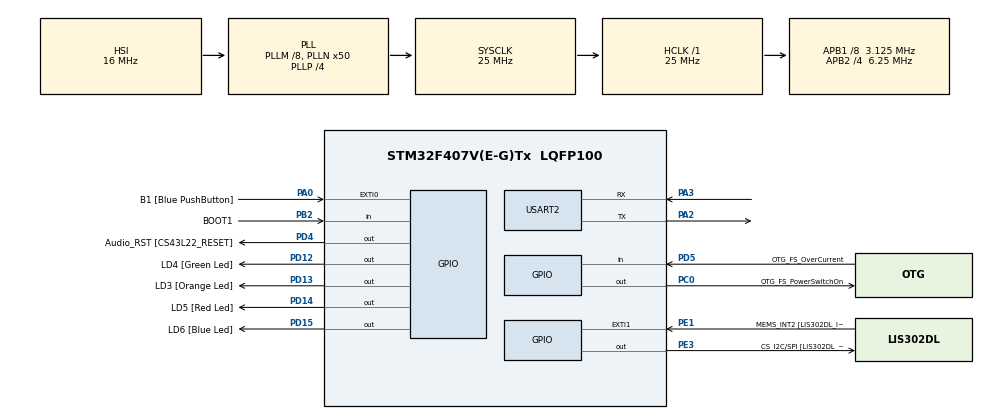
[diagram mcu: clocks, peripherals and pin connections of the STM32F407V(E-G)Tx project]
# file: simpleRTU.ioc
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FREERTOS.Tasks01=defaultTask,0,128,StartDefaultTask,Default
Mcu.Family=STM32F4
Mcu.Name=STM32F407V(E-G)Tx
Mcu.Package=LQFP100
NVIC.PriorityGroup=NVIC_PRIORITYGROUP_4
NVIC.TIM1_UP_TIM10_IRQn=true\:0\:0\:false\:false\:true\:false
NVIC.TimeBase=TIM1_UP_TIM10_IRQn
NVIC.TimeBaseIP=TIM1
NVIC.USART2_IRQn=true\:5\:0\:false\:false\:true\:true
PA0-WKUP.GPIO_Label=B1 [Blue PushButton]
PA0-WKUP.GPIO_ModeDefaultEXTI=GPIO_MODE_EVT_RISING
PA0-WKUP.GPIO_PuPd=GPIO_NOPULL
PA0-WKUP.Signal=GPXTI0
PA10.GPIO_Label=OTG_FS_ID
PA10.GPIO_Mode=GPIO_MODE_AF_PP
PA10.GPIO_PuPd=GPIO_NOPULL
PA10.GPIO_Speed=GPIO_SPEED_FREQ_LOW
PA10.Signal=USB_OTG_FS_ID
PA11.GPIO_Label=OTG_FS_DM
PA11.GPIO_Mode=GPIO_MODE_AF_PP
PA11.GPIO_PuPd=GPIO_NOPULL
PA11.GPIO_Speed=GPIO_SPEED_FREQ_LOW
PA11.Signal=USB_OTG_FS_DM
PA12.GPIO_Label=OTG_FS_DP
PA12.GPIO_Mode=GPIO_MODE_AF_PP
PA12.GPIO_PuPd=GPIO_NOPULL
PA12.GPIO_Speed=GPIO_SPEED_FREQ_LOW
PA12.Signal=USB_OTG_FS_DP
PA13.GPIO_Label=SWDIO
PA13.Signal=SYS_JTMS-SWDIO
PA14.GPIO_Label=SWCLK
PA14.Signal=SYS_JTCK-SWCLK
PA2.Mode=Asynchronous
PA2.Signal=USART2_TX
PA3.Mode=Asynchronous
PA3.Signal=USART2_RX
PA4.GPIO_Label=I2S3_WS [CS43L22_LRCK]
PA4.GPIO_Mode=GPIO_MODE_AF_PP
PA4.GPIO_PuPd=GPIO_NOPULL
PA4.GPIO_Speed=GPIO_SPEED_FREQ_LOW
PA4.Signal=I2S3_WS
PA5.GPIO_Label=SPI1_SCK [LIS302DL_SCL/SPC]
PA5.GPIO_Mode=GPIO_MODE_AF_PP
PA5.GPIO_PuPd=GPIO_NOPULL
PA5.GPIO_Speed=GPIO_SPEED_FREQ_LOW
PA5.Signal=SPI1_SCK
PA6.GPIO_Label=SPI1_MISO [LIS302DL_SDO]
PA6.GPIO_Mode=GPIO_MODE_AF_PP
PA6.GPIO_PuPd=GPIO_NOPULL
PA6.GPIO_Speed=GPIO_SPEED_FREQ_LOW
PA6.Signal=SPI1_MISO
PA7.GPIO_Label=SPI1_MOSI [LIS302DL_SDA/SDI/SDO]
PA7.GPIO_Mode=GPIO_MODE_AF_PP
PA7.GPIO_PuPd=GPIO_NOPULL
PA7.GPIO_Speed=GPIO_SPEED_FREQ_LOW
PA7.Signal=SPI1_MOSI
PA9.GPIO_Label=VBUS_FS
PA9.GPIO_Mode=GPIO_MODE_INPUT
PA9.GPIO_PuPd=GPIO_NOPULL
PA9.Signal=USB_OTG_FS_VBUS
PB10.GPIO_Label=CLK_IN [MP45DT02_CLK]
PB10.GPIO_Mode=GPIO_MODE_AF_PP
PB10.GPIO_PuPd=GPIO_NOPULL
PB10.GPIO_Speed=GPIO_SPEED_FREQ_LOW
PB10.Signal=I2S2_CK
PB2.GPIO_Label=BOOT1
PB2.GPIO_Mode=GPIO_MODE_INPUT
PB2.GPIO_PuPd=GPIO_NOPULL
PB2.Signal=GPIO_Input
PB3.GPIO_Label=SWO
PB3.Signal=SYS_JTDO-SWO
PB6.GPIO_Label=Audio_SCL [CS43L22_SCL]
PB6.GPIO_Mode=GPIO_MODE_AF_OD
PB6.GPIO_PuPd=GPIO_NOPULL
PB6.GPIO_Speed=GPIO_SPEED_FREQ_LOW
PB6.Signal=I2C1_SCL
PB9.GPIO_Label=Audio_SDA [CS43L22_SDA]
PB9.GPIO_Mode=GPIO_MODE_AF_OD
PB9.GPIO_PuPd=GPIO_NOPULL
PB9.GPIO_Speed=GPIO_SPEED_FREQ_LOW
PB9.Signal=I2C1_SDA
PC0.GPIO_Label=OTG_FS_PowerSwitchOn
PC0.GPIO_PuPd=GPIO_NOPULL
PC0.GPIO_Speed=GPIO_SPEED_FREQ_LOW
PC0.PinState=GPIO_PIN_SET
PC0.Signal=GPIO_Output
PC10.GPIO_Label=I2S3_SCK [CS43L22_SCLK]
PC10.GPIO_Mode=GPIO_MODE_AF_PP
PC10.GPIO_PuPd=GPIO_NOPULL
PC10.GPIO_Speed=GPIO_SPEED_FREQ_LOW
PC10.Signal=I2S3_CK
PC12.GPIO_Label=I2S3_SD [CS43L22_SDIN]
PC12.GPIO_Mode=GPIO_MODE_AF_PP
PC12.GPIO_PuPd=GPIO_NOPULL
PC12.GPIO_Speed=GPIO_SPEED_FREQ_LOW
PC12.Signal=I2S3_SD
PC14-OSC32_IN.GPIO_Label=PC14-OSC32_IN
PC14-OSC32_IN.Signal=RCC_OSC32_IN
PC15-OSC32_OUT.GPIO_Label=PC15-OSC32_OUT
PC15-OSC32_OUT.Signal=RCC_OSC32_OUT
PC3.GPIO_Label=PDM_OUT [MP45DT02_DOUT]
PC3.GPIO_Mode=GPIO_MODE_AF_PP
PC3.GPIO_PuPd=GPIO_NOPULL
PC3.GPIO_Speed=GPIO_SPEED_FREQ_LOW
PC3.Signal=I2S2_SD
PC7.GPIO_Label=I2S3_MCK [CS43L22_MCLK]
PC7.GPIO_Mode=GPIO_MODE_AF_PP
PC7.GPIO_PuPd=GPIO_NOPULL
PC7.GPIO_Speed=GPIO_SPEED_FREQ_LOW
PC7.Signal=I2S3_MCK
PD12.GPIO_Label=LD4 [Green Led]
PD12.GPIO_PuPd=GPIO_NOPULL
PD12.GPIO_Speed=GPIO_SPEED_FREQ_LOW
PD12.Signal=GPIO_Output
PD13.GPIO_Label=LD3 [Orange Led]
PD13.GPIO_PuPd=GPIO_NOPULL
PD13.GPIO_Speed=GPIO_SPEED_FREQ_LOW
PD13.Signal=GPIO_Output
PD14.GPIO_Label=LD5 [Red Led]
PD14.GPIO_PuPd=GPIO_NOPULL
PD14.GPIO_Speed=GPIO_SPEED_FREQ_LOW
PD14.Signal=GPIO_Output
PD15.GPIO_Label=LD6 [Blue Led]
PD15.GPIO_PuPd=GPIO_NOPULL
PD15.GPIO_Speed=GPIO_SPEED_FREQ_LOW
PD15.Signal=GPIO_Output
PD4.GPIO_Label=Audio_RST [CS43L22_RESET]
PD4.GPIO_PuPd=GPIO_NOPULL
PD4.GPIO_Speed=GPIO_SPEED_FREQ_LOW
PD4.Signal=GPIO_Output
PD5.GPIO_Label=OTG_FS_OverCurrent
PD5.GPIO_Mode=GPIO_MODE_INPUT
PD5.GPIO_PuPd=GPIO_NOPULL
PD5.Signal=GPIO_Input
PE1.GPIO_Label=MEMS_INT2 [LIS302DL_INT2]
PE1.GPIO_ModeDefaultEXTI=GPIO_MODE_EVT_RISING
PE1.GPIO_PuPd=GPIO_NOPULL
PE1.Signal=GPXTI1
PE3.GPIO_Label=CS_I2C/SPI [LIS302DL_CS_I2C/SPI]
PE3.GPIO_PuPd=GPIO_NOPULL
PE3.GPIO_Speed=GPIO_SPEED_FREQ_LOW
PE3.Signal=GPIO_Output
PH0-OSC_IN.GPIO_Label=PH0-OSC_IN
PH0-OSC_IN.Signal=RCC_OSC_IN
PH1-OSC_OUT.GPIO_Label=PH1-OSC_OUT
PH1-OSC_OUT.Signal=RCC_OSC_OUT
ProjectManager.HeapSize=0x200
ProjectManager.StackSize=0x400
ProjectManager.TargetToolchain=SW4STM32
RCC.48MHZClocksFreq_Value=14285714.285714285
RCC.AHBFreq_Value=25000000
RCC.APB1CLKDivider=RCC_HCLK_DIV8
RCC.APB1Freq_Value=3125000
RCC.APB1TimFreq_Value=6250000
RCC.APB2CLKDivider=RCC_HCLK_DIV4
RCC.APB2Freq_Value=6250000
RCC.APB2TimFreq_Value=12500000
RCC.CortexFreq_Value=25000000
RCC.HCLKFreq_Value=25000000
RCC.HSE_VALUE=8000000
RCC.HSI_VALUE=16000000
RCC.LSE_VALUE=32768
RCC.PLLM=8
RCC.PLLN=50
RCC.PLLP=RCC_PLLP_DIV4
RCC.PLLQ=7
RCC.SYSCLKFreq_VALUE=25000000
RCC.SYSCLKSource=RCC_SYSCLKSOURCE_PLLCLK
RCC.VCOOutputFreq_Value=100000000
VP_FREERTOS_VS_ENABLE.Mode=Enabled
VP_SYS_VS_tim1.Mode=TIM1
board=STM32F4DISCOVERY

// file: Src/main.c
/**
 * *****************************************************************************
 * File Name          : main.c
 * Description        : Main program body
 ******************************************************************************
 */
/* COPYRIGHT(c) 2016 STMicroelectronics
 *
 * Redistribution and use in source and binary forms, with or without modification,
 * are permitted provided that the following conditions are met:
 *   1. Redistributions of source code must retain the above copyright notice,
 *      this list of conditions and the following disclaimer.
 *   2. Redistributions in binary form must reproduce the above copyright notice,
 *      this list of conditions and the following disclaimer in the documentation
 *      and/or other materials provided with the distribution.
 *   3. Neither the name of STMicroelectronics nor the names of its contributors
 *      may be used to endorse or promote products derived from this software
 *      without specific prior written permission.
 *
 * THIS SOFTWARE IS PROVIDED BY THE COPYRIGHT HOLDERS AND CONTRIBUTORS "AS IS"
 * AND ANY EXPRESS OR IMPLIED WARRANTIES, INCLUDING, BUT NOT LIMITED TO, THE
 * IMPLIED WARRANTIES OF MERCHANTABILITY AND FITNESS FOR A PARTICULAR PURPOSE ARE
 * DISCLAIMED. IN NO EVENT SHALL THE COPYRIGHT HOLDER OR CONTRIBUTORS BE LIABLE
 * FOR ANY DIRECT, INDIRECT, INCIDENTAL, SPECIAL, EXEMPLARY, OR CONSEQUENTIAL
 * DAMAGES (INCLUDING, BUT NOT LIMITED TO, PROCUREMENT OF SUBSTITUTE GOODS OR
 * SERVICES; LOSS OF USE, DATA, OR PROFITS; OR BUSINESS INTERRUPTION) HOWEVER
 * CAUSED AND ON ANY THEORY OF LIABILITY, WHETHER IN CONTRACT, STRICT LIABILITY,
 * OR TORT (INCLUDING NEGLIGENCE OR OTHERWISE) ARISING IN ANY WAY OUT OF THE USE
 * OF THIS SOFTWARE, EVEN IF ADVISED OF THE POSSIBILITY OF SUCH DAMAGE.
 *
 ******************************************************************************
 */
#include "stm32f4xx_hal.h"
#include "cmsis_os.h"
#include "usart.h"
#include "gpio.h"
//
/* USER CODE BEGIN Includes */
#include <string.h>
#include <stdbool.h>
#include <stdlib.h>
#include "ATH_serial.h"

#include "container.h"

/* USER CODE END Includes */

/* USER CODE BEGIN PV */
/* Private variables ---------------------------------------------------------*/

/* USER CODE END PV */

void SystemClock_Config(void);
void Error_Handler(void);
void MX_FREERTOS_Init(void);

/* USER CODE BEGIN PFP */
/* Private function prototypes -----------------------------------------------*/

/* USER CODE END PFP */

/* USER CODE BEGIN 0 */
#define STACK_SIZE 256
#define USART_BUFFER 32
//
// Commands
//
#define READ_CMD  0x10
#define WRITE_CMD 0x20
#define TOGGLE_CMD 0x30 // Only makes sense for digital  Command is WT
#define SUB   0x80

#define MASK_CMD  0xf0

// Sub-command, or functions
//
#define DIGITAL_CMD  0x01
#define ANALOG_CMD   0x02
#define SETTINGS_CMD 0x04

#define SUB_CMD 0x01
#define UNSUB_CMD 0x02

#define MASK_FUNC    0x0f

enum appTaskQs {
    NO_TASK=0,
    RLY_TASK,
    SER_L_TASK,
    SER_S_TASK,
    BTN_TASK,
    LAST_TASK
};

struct taskData {
    osMutexId lock;
    QueueHandle_t q;

    uint8_t dest;
    uint8_t defaultDest;
};

struct taskData *task[LAST_TASK];

QueueHandle_t getQ(uint8_t idx) {
    QueueHandle_t q;
    struct taskData *d;

    d=task[idx];

    if( d != NULL ) {
        osMutexWait(d->lock, osWaitForever);
        q = d->q;
        osMutexRelease(d->lock);
    } else {
        q = NULL;
    }

    return q;
}

struct cmdMessage {
    uint8_t cmd;
    uint8_t addr;
    uint16_t data;
};

// osMessageQId taskQs[LAST_TASK];

// TODO Move this into main
#define QDEPTH 8
osMessageQDef(relayQ, QDEPTH, uint32_t ); // Declare a Message queue
osMessageQDef(senderQ, QDEPTH, uint32_t ); // Declare a Message queue

osThreadId relayThreadHandle;
osThreadId serialListenerThreadHandle;
osThreadId serialSenderThreadHandle;

osMutexDef(uart2txLock);
osMutexId uart2txLockId;

osMutexDef(uart2rxLock);
osMutexId uart2rxLockId;

// Ignore attempt to address beyond that.
//
// 0 -> PD 12
// 1 -> PD 13
// 2 -> PD 14
// 3 -> PD 15
//
void switchRelay( uint8_t addr, bool state) {

    uint16_t pin;
    uint16_t base = 0x1000; // Relay 0
    addr &= 0x03 ; // Limit to range 0 to 3
    pin = base << addr;

    // NOTE Relays attached invert the output, so o/p hi means relay off
    //
    state = (state)?false:true;

    HAL_GPIO_WritePin(GPIOD, pin,(GPIO_PinState) state);

}
bool readRelay( uint8_t addr) {
    GPIO_PinState state;
    uint16_t pin;
    uint16_t base = 0x1000; // Relay 0

    addr &= 0x03 ; // Limit to range 0 to 3
    pin = base << addr;

    // GPIO_PinState HAL_GPIO_ReadPin(GPIO_TypeDef* GPIOx, uint16_t GPIO_Pin)
    state = HAL_GPIO_ReadPin(GPIOD, pin);

    return( (state==0)?true:false  );

}

void allRelaysOff() {
    int i;

    for(i=0;i<4;i++) {
        switchRelay(i,false);
    }
}
// In this version there are 4 outputs, 0-3

osStatus safeSerialSend( UART_HandleTypeDef *uart, uint8_t *buffer, uint16_t len) {
    osStatus rc;
    volatile HAL_StatusTypeDef ustatus;
    int i;

    rc = osMutexWait(uart2txLockId, osWaitForever);
    for(i=0;i<len;i++) {
        txByteWait(uart,buffer[i],-1);
    }
    rc = osMutexRelease(uart2txLockId);

    return rc;
}

osStatus safeSerialReceive( UART_HandleTypeDef *uart, uint8_t *buffer, uint16_t len) {
    osStatus rc;
    HAL_StatusTypeDef ustatus;

    rc = osMutexWait(uart2rxLockId, osWaitForever);

    for(int i=0;i<len;i++) {
        buffer[i] = rxByteWait(uart,-1);
    }
    rc = osMutexRelease(uart2rxLockId);
    return rc;
}

#define MAX_SUB 4  // Maximum number of subscribers;

void relayThread(void const *args) {
    osEvent evt;

    HAL_StatusTypeDef status;
    struct cmdMessage data;
    bool valid=false;
    bool readData  = false;
    bool writeData = false;
    bool toggleData = false;
    bool subscribeCmd = false;

    volatile QueueHandle_t qh;

    uint8_t subList[MAX_SUB];
    uint32_t xfer;
    uint8_t idx=0;

    struct taskData *myData;

    myData = malloc(sizeof(struct taskData ));
    memset(myData,0,sizeof(struct taskData));

    osMutexDef(relayLock);

    myData->lock = osMutexCreate(osMutex(relayLock));
    myData->q    = osMessageCreate(osMessageQ(relayQ), NULL);

    task[ RLY_TASK] = myData ;

    memset(&subList,0,sizeof(subList));

    while(1) {
        qh = getQ(RLY_TASK);
        evt = osMessageGet(qh, osWaitForever);

        memcpy(&data,&evt.value.v,sizeof(uint32_t));

        readData   = (((data.cmd & MASK_CMD) == READ_CMD)  && (( data.cmd & MASK_FUNC ) == DIGITAL_CMD))?true:false ;
        writeData  = (((data.cmd & MASK_CMD) == WRITE_CMD) && (( data.cmd & MASK_FUNC ) == DIGITAL_CMD))?true:false ;
        toggleData = (((data.cmd & MASK_CMD) == TOGGLE_CMD) && (( data.cmd & MASK_FUNC ) == DIGITAL_CMD))?true:false ;

        subscribeCmd =  (((data.cmd & MASK_CMD) == SUB) && (( data.cmd & MASK_FUNC ) == SUB_CMD))?true:false ;
        subscribeCmd |= (((data.cmd & MASK_CMD) == SUB) && (( data.cmd & MASK_FUNC ) == UNSUB_CMD))?true:false ;

        valid = (readData || writeData || toggleData || subscribeCmd )?true:false;

        if (valid ) {
            data.cmd &=0x0f;
            data.cmd |= WRITE_CMD ;

            if (writeData) {
                switchRelay(data.addr,data.data );
            }

            if(readData) {
                if(readRelay(data.addr) ) {
                    data.data = 0x01;
                } else {
                    data.data = 0x00;
                }
            }

            if(toggleData) {
                if(readRelay(data.addr)) {
                    switchRelay(data.addr,false);
                } else {
                    switchRelay(data.addr,true);
                }

            }

            if( subscribeCmd ) {
                //
                // If I get to here you have either asked to subscribe, or un-subscribe
                //
                bool subFlag = false;

                if( (data.cmd & MASK_FUNC) == SUB_CMD ) {
                    if( idx < MAX_SUB) {
                        subList[idx++]=data.data & 0x0ff;
                    }
                    // TODO No unsub
                }
            }

            if( readData || writeData || toggleData) {
                volatile QueueHandle_t qh;

                // TODO Loop over sub list
                memcpy(&xfer, &data, sizeof(uint32_t));

                for(int i=0;i<MAX_SUB;i++) {
                    if( subList[i] != 0) {
                        qh = getQ( subList[i]) ;
                        status=osMessagePut(qh, (uint32_t )xfer, osWaitForever);
                    }
                }
            }

        }

        osThreadYield();
    }
}

void serialSenderThread(void const *args) {
    osEvent evt;
    uint8_t txBuffer[8];
    volatile HAL_StatusTypeDef status;
    struct cmdMessage data;
    bool cmdValid = false ;
    uint32_t xfer;

    struct taskData *myData;
    volatile QueueHandle_t qh;

    myData = malloc(sizeof(struct taskData ));
    memset(myData,0,sizeof(struct taskData));

    osMutexDef(senderLock);

    myData->lock = osMutexCreate(osMutex(senderLock));
    myData->q    = osMessageCreate(osMessageQ(senderQ), NULL);

    task[SER_S_TASK] = myData;

    status = safeSerialSend( &huart2, (uint8_t*)"\0ST   ", 6);

    // TODO this needs refactoring into a subscribe/unsubscribe function
    memset(&data,0,sizeof(struct cmdMessage));

    data.cmd = SUB | SUB_CMD;
    data.addr = 0x00;
    data.data = SER_S_TASK;

    memcpy(&xfer, &data, sizeof(uint32_t));

    qh = getQ(RLY_TASK);
    do {
        qh = getQ(RLY_TASK);
        if(qh == NULL) {
            osDelay(10);
        }
    } while( qh == NULL);

    status=osMessagePut(qh, (uint32_t )xfer, osWaitForever);

    memset(&data,0,sizeof(struct cmdMessage));
    while(1) {
        status = safeSerialSend( &huart2, (uint8_t*)"\0ST   ", 6);

        qh = getQ(SER_S_TASK);
        evt = osMessageGet(qh, osWaitForever);
        //
        // TODO Build command to send from rx message.
        //
        memcpy(&data,&evt.value.v,sizeof(uint32_t));

        if (( data.cmd & MASK_CMD ) == WRITE_CMD ) {
            txBuffer[1] = 'W';
            cmdValid=true;
        } else if (( data.cmd & MASK_CMD ) == READ_CMD ) {
            txBuffer[1] = 'R';
            cmdValid=true;
        }

        if (cmdValid) {
            if((data.cmd & MASK_FUNC) == DIGITAL_CMD ) {
                txBuffer[2] = 'D';
            } else {
                cmdValid = false;
            }
        }

        if( cmdValid ) {
            txBuffer[0] = (uint8_t)0; // Address, dummy for now.
            txBuffer[3] = data.addr;
            txBuffer[4] = data.data & 0x00ff ;
            txBuffer[5] = (data.data & 0xff00) >> 8;
            status = safeSerialSend( &huart2, txBuffer, 6);
        }
        osThreadYield();
    }
}

void serialListenerThread(void const *args) {
    uint8_t rxBuffer[8];
    osStatus status;

    struct cmdMessage cmd;
    uint32_t data;
    bool valid = false;
    volatile QueueHandle_t qh;
    struct taskData *myData;

    myData = malloc(sizeof(struct taskData ));
    memset(myData,0,sizeof(struct taskData));

    osMutexDef(listenerLock);

    myData->lock = osMutexCreate(osMutex(listenerLock));
    myData->q = NULL;
    // TODO use this
    myData->defaultDest = RLY_TASK ;

    task[SER_L_TASK] = myData;

    printf("Hello\n");

    while(1) {
        valid = false;
        memset(rxBuffer,0,sizeof(rxBuffer));
        memset(&cmd,0,sizeof(cmd));

        status = safeSerialReceive( &huart2, rxBuffer, 6);

        if( rxBuffer[1] == 'W') {
            cmd.cmd = (uint8_t) WRITE_CMD ;
            valid = true;

        } else if(rxBuffer[1] == 'R') {
            cmd.cmd = (uint8_t) READ_CMD ;
            valid = true;
        } else if(rxBuffer[1] == 'T') {
            cmd.cmd = (uint8_t) TOGGLE_CMD ;
            valid = true;
        }

        if( rxBuffer[2] == 'D') {
            cmd.cmd |= DIGITAL_CMD;
            valid = true;
        } else if ( rxBuffer[2] == 'A') {
            // TODO if cmd is toggle then it's and invalid command
            cmd.cmd |= ANALOG_CMD;
            // TODO Add anolog reading, some day
            valid = false;
        }
        //
        // If valid is false this is not a good command, so
        // ignore it.
        //
        // TODO test address 0<= address <=3

        if(valid ) {
            cmd.addr = rxBuffer[3];
            cmd.data = rxBuffer[4] | (rxBuffer[5] << 8);

            memcpy( &data, (void *)&cmd, sizeof(uint32_t) );

            qh = getQ(RLY_TASK);
            status=osMessagePut(qh, (uint32_t)data, osWaitForever);
        }
        osThreadYield();
    }
}

osThreadDef(RLY,   relayThread, osPriorityNormal,0, STACK_SIZE);
osThreadDef(SER_L, serialListenerThread, osPriorityNormal,0, STACK_SIZE);
osThreadDef(SER_S, serialSenderThread, osPriorityNormal,0, STACK_SIZE);

/* USER CODE END 0 */

int main(void) {

    /* MCU Configuration----------------------------------------------------------*/

    /* Reset of all peripherals, Initializes the Flash interface and the Systick. */
    HAL_Init();

    /* Configure the system clock */
    SystemClock_Config();

    /* Initialize all configured peripherals */
    MX_GPIO_Init();
    allRelaysOff();
    MX_USART2_UART_Init();

    /* USER CODE BEGIN 2 */

    uart2rxLockId = osMutexCreate(osMutex(uart2rxLock));
    uart2txLockId = osMutexCreate(osMutex(uart2txLock));

    relayThreadHandle          = osThreadCreate (osThread(RLY), NULL);
    serialSenderThreadHandle   = osThreadCreate (osThread(SER_S), NULL);
    serialListenerThreadHandle = osThreadCreate (osThread(SER_L), NULL);

    /*
     * TODO C++ works !!!!!!!
     *  struct container* newClass();
     *  volatile void *a;
     *  a=newClass();
     *  runLoop(a);
     */

    /* USER CODE END 2 */

    /* Call init function for freertos objects (in freertos.c) */
    MX_FREERTOS_Init();

    /* Start scheduler */
    osKernelStart();

    /* We should never get here as control is now taken by the scheduler */

    /* Infinite loop */
    while (1)
    {

    }

}

/** System Clock Configuration
 */
void SystemClock_Config(void)
{

    RCC_OscInitTypeDef RCC_OscInitStruct;
    RCC_ClkInitTypeDef RCC_ClkInitStruct;

    __HAL_RCC_PWR_CLK_ENABLE();

    __HAL_PWR_VOLTAGESCALING_CONFIG(PWR_REGULATOR_VOLTAGE_SCALE1);

    RCC_OscInitStruct.OscillatorType = RCC_OSCILLATORTYPE_HSI;
    RCC_OscInitStruct.HSIState = RCC_HSI_ON;
    RCC_OscInitStruct.HSICalibrationValue = 16;
    RCC_OscInitStruct.PLL.PLLState = RCC_PLL_ON;
    RCC_OscInitStruct.PLL.PLLSource = RCC_PLLSOURCE_HSI;
    RCC_OscInitStruct.PLL.PLLM = 8;
    RCC_OscInitStruct.PLL.PLLN = 50;
    RCC_OscInitStruct.PLL.PLLP = RCC_PLLP_DIV4;
    RCC_OscInitStruct.PLL.PLLQ = 7;
    if (HAL_RCC_OscConfig(&RCC_OscInitStruct) != HAL_OK)
    {
        Error_Handler();
    }

    RCC_ClkInitStruct.ClockType = RCC_CLOCKTYPE_HCLK|RCC_CLOCKTYPE_SYSCLK
    |RCC_CLOCKTYPE_PCLK1|RCC_CLOCKTYPE_PCLK2;
    RCC_ClkInitStruct.SYSCLKSource = RCC_SYSCLKSOURCE_PLLCLK;
    RCC_ClkInitStruct.AHBCLKDivider = RCC_SYSCLK_DIV1;
    RCC_ClkInitStruct.APB1CLKDivider = RCC_HCLK_DIV8;
    RCC_ClkInitStruct.APB2CLKDivider = RCC_HCLK_DIV4;
    if (HAL_RCC_ClockConfig(&RCC_ClkInitStruct, FLASH_LATENCY_0) != HAL_OK)
    {
        Error_Handler();
    }

    HAL_SYSTICK_Config(HAL_RCC_GetHCLKFreq()/1000);

    HAL_SYSTICK_CLKSourceConfig(SYSTICK_CLKSOURCE_HCLK);

    /* SysTick_IRQn interrupt configuration */
    HAL_NVIC_SetPriority(SysTick_IRQn, 15, 0);
}

void HAL_TIM_PeriodElapsedCallback(TIM_HandleTypeDef *htim)
{
    if (htim->Instance == TIM1) {
        HAL_IncTick();
    }
}

void Error_Handler(void)
{
    while(1)
    {
    }
}

#ifdef USE_FULL_ASSERT

/**
 * @brief Reports the name of the source file and the source line number
 * where the assert_param error has occurred.
 * @param file: pointer to the source file name
 * @param line: assert_param error line source number
 * @retval None
 */
void assert_failed(uint8_t* file, uint32_t line)
{
    /* USER CODE BEGIN 6 */
    /* User can add his own implementation to report the file name and line number,
     *    ex: printf("Wrong parameters value: file %s on line %d\r\n", file, line) */
    /* USER CODE END 6 */

}

#endif

/************************ (C) COPYRIGHT STMicroelectronics *****END OF FILE****/
